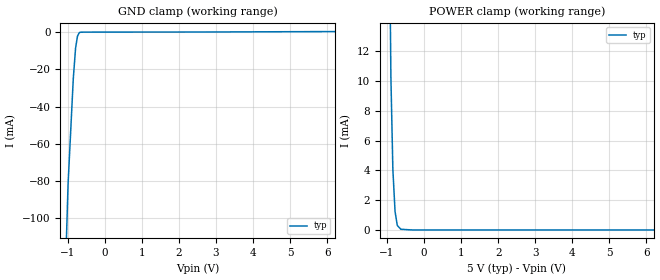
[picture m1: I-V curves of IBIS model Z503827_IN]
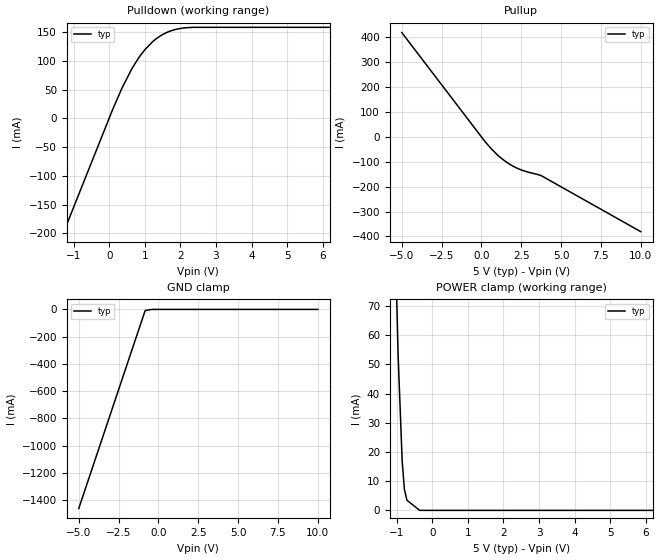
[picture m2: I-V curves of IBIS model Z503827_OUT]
| YOU ARE ONLY AUTHORIZED TO USE THIS SOFTWARE
| ACCORDING TO LICENSOR'S LICENSE RESTRICTIONS.
[IBIS Ver] 3.1
[File Name] mc74act08d.ibs
[File Rev] 2.0
[Source] Measured and created by ICX Technology
[Date] Friday 7/14/00 9:08:01 AM
[Copyright]
| (C) COPYRIGHT 1993-2000
| MENTOR GRAPHICS CORPORATION
| ICX STANDARD LIBRARY, ICX PROJECT MODELING,
| ICX CUSTOM MODELING, ICX VENDOR MODEL
| ALL RIGHTS RESERVED.
| THE FOLLOWING ARE TRADEMARKS OR SERVICE MARKS OF
| MENTOR GRAPHICS CORPORATION:ICX (R), ICX STANDARD
| LIBRARY(R), ICX PROJECT MODELING(R), ICX CUSTOM
| MODELING(R), qualityIBIS(TM), MODELVIEWER(TM),
| AND MODELEDITOR(TM)
| ALL COPIES OF SOFTWARE, INCLUDING BUT NOT LIMITED TO
| ANY MODIFICATIONS, ENHANCEMENTS OR DERIVATIVE WORKS,
| MUST CONTAIN ALL MENTOR GRAPHICS CORPORATION'S
| NOTICES AND LEGENDS, INCLUDING THOSE EMBEDDED IN
| SOFTWARE AND THOSE AFFIXED TO SOFTWARE MEDIUM
| AND CONTAINER, AS RECEIVED FROM MENTOR GRAPHICS
| CORPORATION.
|  ZAP Model Builder 2.7
[Component] MC74ACT08D
[Manufacturer] OnSemiconductor
[Package]
| variable   typ   min   max
R_pkg  .155ohms NA NA
L_pkg  3.028nH NA NA
C_pkg  .381pF NA NA
[Pin] signal_name  model_name  R_pin  L_pin C_pin
1 A Z503827_IN .16 3.587n .407p
2 B Z503827_IN .156 3.147n .387p
3 Y Z503827_OUT .152 2.717n .367p
4 A Z503827_IN .148 2.297n .347p
5 B Z503827_IN .152 2.717n .367p
6 Y Z503827_OUT .156 3.147n .387p
7 GROUND GND .16 3.587n .407p
8 Y Z503827_OUT .16 3.587n .407p
9 A Z503827_IN .156 3.147n .387p
10 B Z503827_IN .152 2.717n .367p
11 Y Z503827_OUT .148 2.297n .347p
12 A Z503827_IN .152 2.717n .367p
13 B Z503827_IN .156 3.147n .387p
14 VCC POWER .16 3.587n .407p
| Models and submodels in the file (2): Z503827_IN (Input), Z503827_OUT (Output)
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| (C) COPYRIGHT 1993-2000
| MENTOR GRAPHICS CORPORATION
| ICX STANDARD LIBRARY, ICX PROJECT MODELING,
| ICX CUSTOM MODELING, ICX VENDOR MODEL
| ALL RIGHTS RESERVED.
| THE FOLLOWING ARE TRADEMARKS OR SERVICE MARKS OF
| MENTOR GRAPHICS CORPORATION:ICX (R), ICX STANDARD
| LIBRARY(R), ICX PROJECT MODELING(R), ICX CUSTOM
| MODELING(R), qualityIBIS(TM), MODELVIEWER(TM),
| AND MODELEDITOR(TM)
| ALL COPIES OF SOFTWARE, INCLUDING BUT NOT LIMITED TO
| ANY MODIFICATIONS, ENHANCEMENTS OR DERIVATIVE WORKS,
| MUST CONTAIN ALL MENTOR GRAPHICS CORPORATION'S
| NOTICES AND LEGENDS, INCLUDING THOSE EMBEDDED IN
| SOFTWARE AND THOSE AFFIXED TO SOFTWARE MEDIUM
| AND CONTAINER, AS RECEIVED FROM MENTOR GRAPHICS
| CORPORATION.
| Model Application Version 1.89 2/18/99.
[Model] Z503827_IN
Model_type Input
Vinl = 800.0mV
Vinh = 2.000V
C_comp 4.000pF NA NA
| variable typ   min   max
[Voltage Range] 5.000V NA NA
[GND Clamp Reference] 0.000V NA NA
[POWER Clamp Reference] 5.000V NA NA
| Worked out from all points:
|   GND clamp passes 1 mA (typ) near -0.71 V on its own axis
|   POWER clamp passes 1 mA (typ) near -0.77 V on its own axis
[GND Clamp]
-5V       -2.736A    NA         NA
-994.4mV  -81.81mA   NA         NA
-853.7mV  -25.13mA   NA         NA
-792.2mV  -8.72mA    NA         NA
-740.7mV  -2.25mA    NA         NA
-698.2mV  -559.5uA   NA         NA
-678.6mV  -219.1uA   NA         NA
-659.1mV  -67.95uA   NA         NA
-329.5mV  -18.23uA   NA         NA
2.514V    15.16uA    NA         NA
10V       542.6uA    NA         NA
[POWER Clamp]
-5V       1.982A     NA         NA
-1.162V   101.6mA    NA         NA
-1.007V   38.58mA    NA         NA
-896mV    10.26mA    NA         NA
-843mV    4.072mA    NA         NA
-784mV    1.243mA    NA         NA
-724mV    306.6uA    NA         NA
-628mV    47.04uA    NA         NA
-314mV    0A         NA         NA
10V       0A         NA         NA
| (C) COPYRIGHT 1993-2000
| MENTOR GRAPHICS CORPORATION
| ICX STANDARD LIBRARY, ICX PROJECT MODELING,
| ICX CUSTOM MODELING, ICX VENDOR MODEL
| ALL RIGHTS RESERVED.
| THE FOLLOWING ARE TRADEMARKS OR SERVICE MARKS OF
| MENTOR GRAPHICS CORPORATION:ICX (R), ICX STANDARD
| LIBRARY(R), ICX PROJECT MODELING(R), ICX CUSTOM
| MODELING(R), qualityIBIS(TM), MODELVIEWER(TM),
| AND MODELEDITOR(TM)
| ALL COPIES OF SOFTWARE, INCLUDING BUT NOT LIMITED TO
| ANY MODIFICATIONS, ENHANCEMENTS OR DERIVATIVE WORKS,
| MUST CONTAIN ALL MENTOR GRAPHICS CORPORATION'S
| NOTICES AND LEGENDS, INCLUDING THOSE EMBEDDED IN
| SOFTWARE AND THOSE AFFIXED TO SOFTWARE MEDIUM
| AND CONTAINER, AS RECEIVED FROM MENTOR GRAPHICS
| CORPORATION.
| Model Application Version 1.89 2/18/99.
[Model] Z503827_OUT
Model_type Output
Vref=0.000V
Rref=500.0Mohms
Cref=50.00pF
Vmeas=1.500V
C_comp 8.000pF NA NA
| variable typ   min   max
[Voltage Range] 5.000V NA NA
[POWER Clamp Reference] 5.000V NA NA
[Pullup Reference] 5.000V NA NA
[Pulldown Reference] 0.000V NA NA
[GND Clamp Reference] 0.000V NA NA
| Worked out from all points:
|   slope of the pulldown table from 0 to 0.75 V, typ, clamps not added: 7.75 ohm
|   slope of the pullup table from 0 to 0.75 V, typ, clamps not added: 13.3 ohm
[GND Clamp]
-5V       -1.463A    NA         NA
-848.5mV  -14.77mA   NA         NA
-820.2mV  -7.85mA    NA         NA
-410.1mV  0A         NA         NA
10V       0A         NA         NA
[Pulldown]
-5V       -773mA     NA         NA
84.84mV   14.51mA    NA         NA
348.7mV   52.03mA    NA         NA
630.9mV   86.41mA    NA         NA
829.8mV   106mA      NA         NA
997.7mV   119.6mA    NA         NA
1.222V    133.9mA    NA         NA
1.474V    145.3mA    NA         NA
1.627V    150mA      NA         NA
1.885V    155.3mA    NA         NA
2.363V    158.6mA    NA         NA
10V       158.6mA    NA         NA
[Pullup]
-5V       418.9mA    NA         NA
216mV     -18.28mA   NA         NA
606mV     -47.14mA   NA         NA
1.191V    -83.08mA   NA         NA
1.804V    -111.4mA   NA         NA
2.211V    -125.2mA   NA         NA
3.752V    -155.9mA   NA         NA
10V       -380.8mA   NA         NA
[POWER Clamp]
-5V       2.004A     NA         NA
-967mV    53.44mA    NA         NA
-852mV    16.88mA    NA         NA
-790mV    7.25mA     NA         NA
-718mV    3.474mA    NA         NA
-359mV    0A         NA         NA
10V       0A         NA         NA
[Ramp]
| variable typ min max
dV/dt_r 2.937/725.5p NA NA
dV/dt_f 2.937/743.1p NA NA
R_load = 500.0Ohms
